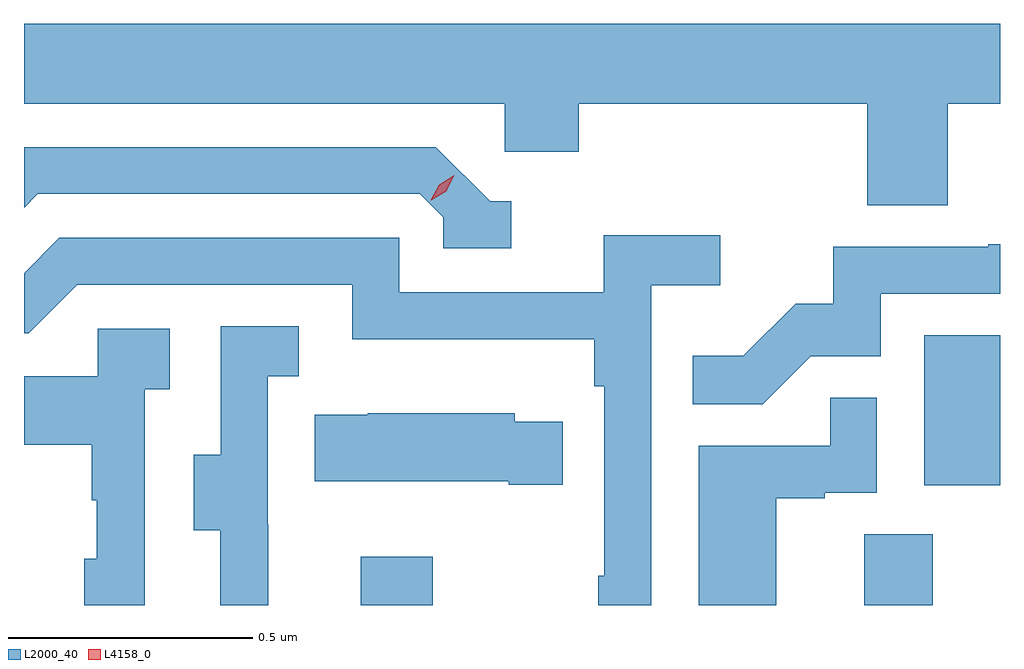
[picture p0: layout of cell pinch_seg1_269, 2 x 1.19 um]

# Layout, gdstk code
import gdstk
lib = gdstk.Library(unit=1e-6, precision=1e-09)
def R(c, l, rs):  # rectangles x0, y0, x1, y1
    for r in rs: c.add(gdstk.rectangle(r[:2], r[2:], *l))
def P(c, l, *ps):  # polygons
    for p in ps: c.add(gdstk.Polygon(p, *l))
L2000_40 = (2000, 40)
L4158_0 = (4158, 0)

pinch_seg1_269 = lib.new_cell('pinch_seg1_269')
R(pinch_seg1_269, L2000_40, [(948.977,580.008,949.125,580.108), (950.009,580.008,950.149,580.154), (950.132,580.254,950.287,580.561)])
P(pinch_seg1_269, L2000_40, [(950.18,581.036),(950.287,581.036),(950.287,581.2),(948.287,581.2),(948.287,581.036),(949.272,581.036),(949.272,580.938),(949.424,580.938),(949.424,581.036),(950.015,581.036),(950.015,580.828),(950.18,580.828)],
  [(949.285,580.836),(949.242,580.836),(949.131,580.947),(948.287,580.947),(948.287,580.823),(948.315,580.851),(949.098,580.851),(949.146,580.803),(949.146,580.74),(949.285,580.74)],
  [(949.572,580.664),(949.714,580.664),(949.714,580.766),(949.475,580.766),(949.475,580.65),(949.056,580.65),(949.056,580.761),(948.359,580.761),(948.287,580.689),(948.287,580.566),(948.297,580.566),(948.396,580.665),(948.96,580.665),(948.96,580.553),(949.456,580.553),(949.456,580.457),(949.476,580.457),(949.476,580.069),(949.464,580.069),(949.464,580.008),(949.572,580.008)],
  [(949.899,580.518),(950.043,580.518),(950.043,580.647),(950.287,580.647),(950.287,580.748),(950.263,580.748),(950.263,580.743),(949.945,580.743),(949.945,580.626),(949.868,580.626),(949.761,580.519),(949.657,580.519),(949.657,580.42),(949.801,580.42)],
  [(948.788,580.173),(948.786,580.173),(948.786,580.477),(948.85,580.477),(948.85,580.58),(948.69,580.58),(948.69,580.317),(948.635,580.317),(948.635,580.162),(948.689,580.162),(948.689,580.008),(948.788,580.008)],
  [(948.534,580.451),(948.586,580.451),(948.586,580.575),(948.438,580.575),(948.438,580.477),(948.287,580.477),(948.287,580.337),(948.426,580.337),(948.426,580.223),(948.436,580.223),(948.436,580.104),(948.41,580.104),(948.41,580.008),(948.534,580.008)],
  [(949.828,580.227),(949.928,580.227),(949.928,580.239),(950.034,580.239),(950.034,580.433),(949.939,580.433),(949.939,580.335),(949.67,580.335),(949.67,580.008),(949.828,580.008)],
  [(949.391,580.384),(949.293,580.384),(949.293,580.402),(948.991,580.402),(948.991,580.399),(948.883,580.399),(948.883,580.262),(949.28,580.262),(949.28,580.255),(949.391,580.255)])
P(pinch_seg1_269, L4158_0, [(949.121,580.838),(949.121,580.838),(949.138,580.87),(949.169,580.889),(949.169,580.889),(949.169,580.889),(949.152,580.857),(949.122,580.838)])

lib.write_gds('pinch_seg1_269.gds')
